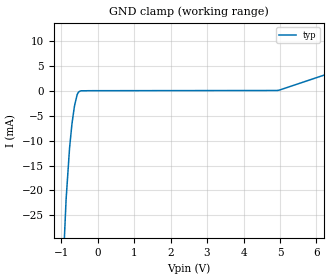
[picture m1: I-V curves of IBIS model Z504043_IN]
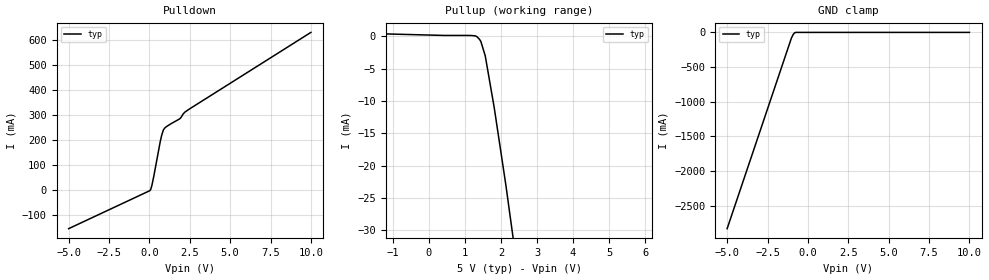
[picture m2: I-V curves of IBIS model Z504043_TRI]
| YOU ARE ONLY AUTHORIZED TO USE THIS SOFTWARE
| ACCORDING TO LICENSOR'S LICENSE RESTRICTIONS.
[IBIS Ver] 3.1
[File Name] mc74f828n.ibs
[File Rev] 2.0
[Source] Measured and created by ICX Technology
[Date] Friday 7/14/00 9:08:05 AM
[Copyright]
| (C) COPYRIGHT 1993-2000
| MENTOR GRAPHICS CORPORATION
| ICX STANDARD LIBRARY, ICX PROJECT MODELING,
| ICX CUSTOM MODELING, ICX VENDOR MODEL
| ALL RIGHTS RESERVED.
| THE FOLLOWING ARE TRADEMARKS OR SERVICE MARKS OF
| MENTOR GRAPHICS CORPORATION:ICX (R), ICX STANDARD
| LIBRARY(R), ICX PROJECT MODELING(R), ICX CUSTOM
| MODELING(R), qualityIBIS(TM), MODELVIEWER(TM),
| AND MODELEDITOR(TM)
| ALL COPIES OF SOFTWARE, INCLUDING BUT NOT LIMITED TO
| ANY MODIFICATIONS, ENHANCEMENTS OR DERIVATIVE WORKS,
| MUST CONTAIN ALL MENTOR GRAPHICS CORPORATION'S
| NOTICES AND LEGENDS, INCLUDING THOSE EMBEDDED IN
| SOFTWARE AND THOSE AFFIXED TO SOFTWARE MEDIUM
| AND CONTAINER, AS RECEIVED FROM MENTOR GRAPHICS
| CORPORATION.
|  ZAP Model Builder 2.7
[Component] MC74F828N
[Manufacturer] OnSemiconductor
[Package]
| variable   typ   min   max
R_pkg  .22ohms NA NA
L_pkg  6.927nH NA NA
C_pkg  1.437pF NA NA
[Pin] signal_name  model_name  R_pin  L_pin C_pin
1 _G1 Z504043_IN .24 12.76n 2.162p
2 A0 Z504043_IN .232 9.76n 1.872p
3 A1 Z504043_IN .224 7.26n 1.582p
4 A2 Z504043_IN .216 5.26n 1.292p
5 A3 Z504043_IN .208 3.76n 1.002p
6 A4 Z504043_IN .2 2.76n .712p
7 A5 Z504043_IN .2 2.76n .712p
8 A6 Z504043_IN .208 3.76n 1.002p
9 A7 Z504043_IN .216 5.26n 1.292p
10 A8 Z504043_IN .224 7.26n 1.582p
11 A9 Z504043_IN .232 9.76n 1.872p
12 GROUND GND .24 12.76n 2.162p
13 _G2 Z504043_IN .24 12.76n 2.162p
14 _Y9 Z504043_TRI .232 9.76n 1.872p
15 _Y8 Z504043_TRI .224 7.26n 1.582p
16 _Y7 Z504043_TRI .216 5.26n 1.292p
17 _Y6 Z504043_TRI .208 3.76n 1.002p
18 _Y5 Z504043_TRI .2 2.76n .712p
19 _Y4 Z504043_TRI .2 2.76n .712p
20 _Y3 Z504043_TRI .208 3.76n 1.002p
21 _Y2 Z504043_TRI .216 5.26n 1.292p
22 _Y1 Z504043_TRI .224 7.26n 1.582p
23 _Y0 Z504043_TRI .232 9.76n 1.872p
24 VCC POWER .24 12.76n 2.162p
| Models and submodels in the file (2): Z504043_IN (Input), Z504043_TRI (3-state)
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| (C) COPYRIGHT 1993-2000
| MENTOR GRAPHICS CORPORATION
| ICX STANDARD LIBRARY, ICX PROJECT MODELING,
| ICX CUSTOM MODELING, ICX VENDOR MODEL
| ALL RIGHTS RESERVED.
| THE FOLLOWING ARE TRADEMARKS OR SERVICE MARKS OF
| MENTOR GRAPHICS CORPORATION:ICX (R), ICX STANDARD
| LIBRARY(R), ICX PROJECT MODELING(R), ICX CUSTOM
| MODELING(R), qualityIBIS(TM), MODELVIEWER(TM),
| AND MODELEDITOR(TM)
| ALL COPIES OF SOFTWARE, INCLUDING BUT NOT LIMITED TO
| ANY MODIFICATIONS, ENHANCEMENTS OR DERIVATIVE WORKS,
| MUST CONTAIN ALL MENTOR GRAPHICS CORPORATION'S
| NOTICES AND LEGENDS, INCLUDING THOSE EMBEDDED IN
| SOFTWARE AND THOSE AFFIXED TO SOFTWARE MEDIUM
| AND CONTAINER, AS RECEIVED FROM MENTOR GRAPHICS
| CORPORATION.
| Model Application Version 1.89 2/18/99.
[Model] Z504043_IN
Model_type Input
Vinl = 800.0mV
Vinh = 2.000V
C_comp 4.000pF NA NA
| variable typ   min   max
[Voltage Range] 5.000V NA NA
[GND Clamp Reference] 0.000V NA NA
[POWER Clamp Reference] 5.000V NA NA
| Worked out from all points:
|   GND clamp passes 1 mA (typ) near -0.57 V on its own axis
[GND Clamp]
-5V       -711.9mA   NA         NA
-863.9mV  -21.83mA   NA         NA
-768.9mV  -11.53mA   NA         NA
-702.8mV  -6.623mA   NA         NA
-634.7mV  -3.111mA   NA         NA
-561.4mV  -808uA     NA         NA
-527.3mV  -316.7uA   NA         NA
-466.3mV  -35.57uA   NA         NA
4.973V    94.73uA    NA         NA
10V       12.41mA    NA         NA
[POWER Clamp]
-5V       0A         NA         NA
10V       0A         NA         NA
| (C) COPYRIGHT 1993-2000
| MENTOR GRAPHICS CORPORATION
| ICX STANDARD LIBRARY, ICX PROJECT MODELING,
| ICX CUSTOM MODELING, ICX VENDOR MODEL
| ALL RIGHTS RESERVED.
| THE FOLLOWING ARE TRADEMARKS OR SERVICE MARKS OF
| MENTOR GRAPHICS CORPORATION:ICX (R), ICX STANDARD
| LIBRARY(R), ICX PROJECT MODELING(R), ICX CUSTOM
| MODELING(R), qualityIBIS(TM), MODELVIEWER(TM),
| AND MODELEDITOR(TM)
| ALL COPIES OF SOFTWARE, INCLUDING BUT NOT LIMITED TO
| ANY MODIFICATIONS, ENHANCEMENTS OR DERIVATIVE WORKS,
| MUST CONTAIN ALL MENTOR GRAPHICS CORPORATION'S
| NOTICES AND LEGENDS, INCLUDING THOSE EMBEDDED IN
| SOFTWARE AND THOSE AFFIXED TO SOFTWARE MEDIUM
| AND CONTAINER, AS RECEIVED FROM MENTOR GRAPHICS
| CORPORATION.
| Model Application Version 1.89 2/18/99.
[Model] Z504043_TRI
Model_type 3-state
Vref=0.000V
Rref=500.0ohms
Cref=50.00pF
Vmeas=1.500V
C_comp 8.000pF NA NA
| variable typ   min   max
[Voltage Range] 5.000V NA NA
[POWER Clamp Reference] 5.000V NA NA
[Pullup Reference] 5.000V NA NA
[Pulldown Reference] 0.000V NA NA
[GND Clamp Reference] 0.000V NA NA
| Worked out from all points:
|   slope of the pulldown table from 0 to 0.75 V, typ, clamps not added: 3.42 ohm
|   slope of the pullup table from 0 to 0.75 V, typ, clamps not added: 12.2 kohm
|   GND clamp passes 1 mA (typ) near -0.77 V on its own axis
[GND Clamp]
-5V       -2.829A    NA         NA
-1.021V   -82.33mA   NA         NA
-917.9mV  -33.19mA   NA         NA
-826.4mV  -6.903mA   NA         NA
-757.5mV  0A         NA         NA
10V       0A         NA         NA
[Pulldown]
-5V       -155.1mA   NA         NA
33.87mV   -2.877mA   NA         NA
152.2mV   17.04mA    NA         NA
273.4mV   54.56mA    NA         NA
674.9mV   194.2mA    NA         NA
753.5mV   216.6mA    NA         NA
865mV     239.7mA    NA         NA
959.3mV   248.1mA    NA         NA
1.875V    284.2mA    NA         NA
2.205V    311.6mA    NA         NA
2.489V    324.1mA    NA         NA
10V       630.2mA    NA         NA
[Pullup]
-5V       950uA      NA         NA
424mV     162.8uA    NA         NA
1.062V    162.8uA    NA         NA
1.182V    150.1uA    NA         NA
1.279V    102.7uA    NA         NA
1.324V    2.162uA    NA         NA
1.402V    -436.4uA   NA         NA
1.44V     -764.7uA   NA         NA
1.562V    -2.994mA   NA         NA
1.81V     -10.96mA   NA         NA
2.138V    -23.12mA   NA         NA
10V       -342.7mA   NA         NA
[POWER Clamp]
-5V       0A         NA         NA
10V       0A         NA         NA
[Ramp]
| variable typ min max
dV/dt_r 1.958/1.398n NA NA
dV/dt_f 1.958/277.9p NA NA
R_load = 500.0Ohms
